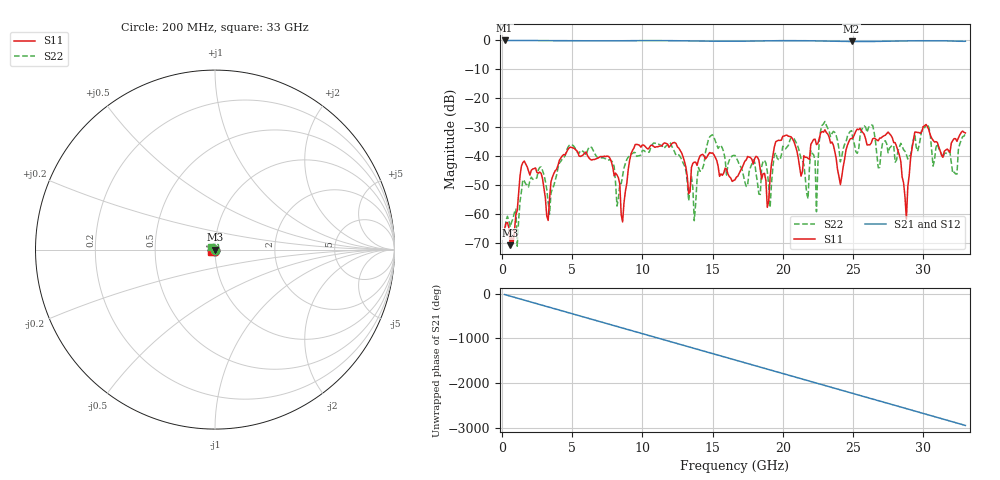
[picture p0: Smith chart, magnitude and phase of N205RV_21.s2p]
# GHZ S RI R 50
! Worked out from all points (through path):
!   329 points, 200 MHz to 33 GHz, reference 50 ohm
!   highest |S21| = -0.01 dB at 200 MHz (marker M1); lowest = -0.4 dB at 24.9 GHz (marker M2)
!   group delay of S21, straight-line fit = 248 ps
!   lowest |S11| = -70.7 dB at 600 MHz (marker M3), VSWR 1.00, Z = 50 - j0.00466 ohm
!   |S11| at or under -10 dB: start of sweep to end of sweep
!   |S22| runs from -71.0 to -28.0 dB; largest |S21 - S12| = 0.0019
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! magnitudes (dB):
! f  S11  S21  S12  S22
! 200 MHz  -65.0  0.0  0.0  -67.2
! 600 MHz  -70.7  0.0  0.0  -64.3
! 1.5 GHz  -42.1  0.0  0.0  -48.0
! 3.3 GHz  -62.1  -0.1  -0.1  -55.9
! 5.7 GHz  -39.8  -0.2  -0.2  -38.1
! 8.6 GHz  -62.6  -0.1  -0.1  -46.7
! 9.5 GHz  -35.9  -0.1  -0.1  -38.7
! 11.2 GHz  -36.5  -0.1  -0.1  -35.9
! 13.7 GHz  -42.0  -0.2  -0.2  -62.2
! 14.8 GHz  -38.7  -0.3  -0.3  -33.2
! 16.6 GHz  -48.1  -0.3  -0.3  -39.7
! 19.1 GHz  -47.1  -0.1  -0.1  -57.7
! 19.5 GHz  -35.0  -0.1  -0.1  -38.7
! 22.1 GHz  -35.0  -0.1  -0.1  -38.9
! 22.4 GHz  -35.9  -0.2  -0.2  -59.1
! 22.8 GHz  -31.4  -0.2  -0.2  -29.3
! 24.1 GHz  -49.7  -0.3  -0.3  -41.9
! 24.9 GHz  -33.9  -0.4  -0.4  -31.1
! 27.6 GHz  -32.2  -0.3  -0.3  -37.2
! 28.8 GHz  -61.6  -0.2  -0.2  -39.4
! 29.4 GHz  -31.6  -0.1  -0.1  -32.4
! 33 GHz  -31.9  -0.3  -0.3  -32.1
